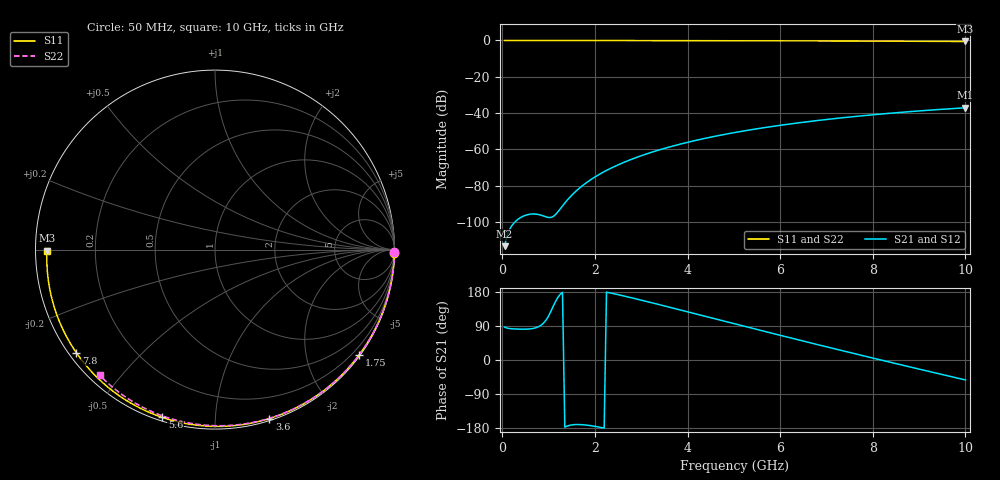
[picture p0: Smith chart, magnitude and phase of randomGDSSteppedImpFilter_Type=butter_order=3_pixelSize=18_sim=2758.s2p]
! freq	dB(S11)	phase(S11)	dB(S12)	phase(S12)
!  dB(S21)	phase(S21)	dB(S22)	phase(S22)
!S-par simulation data
#  GHz  S  DB  R 50
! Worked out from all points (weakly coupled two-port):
!   200 points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, 50 MHz to 10 GHz, reference 50 ohm
!   highest |S21| = -37.08 dB at 10 GHz (marker M1); lowest = -113.3 dB at 50 MHz (marker M2)
!   lowest |S11| = -0.6 dB at 10 GHz (marker M3), VSWR 30.36, Z = 1.65 - j0.159 ohm
!   |S11| at or under -10 dB: nowhere
!   |S22| runs from -0.4 to 0.0 dB; largest |S21 - S12| = 0
!   S11 on the Smith chart (normalised r, x): 50 MHz: open; 1.75 GHz: 0.03, -3.05; 3.6 GHz: 0.02, -1.37; 5.6 GHz: 0.02, -0.73; 7.8 GHz: 0.02, -0.33; 10 GHz: 0.03, -0.00
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0.05  -0.00 -1.1  -113.34 86.6  -113.34 86.6  -0.00 -0.8
0.45  -0.01 -9.5  -96.83 81.2  -96.83 81.2  -0.01 -6.9
0.85  -0.02 -17.8  -96.37 93.0  -96.37 93.0  -0.02 -12.9
1.25  -0.03 -26.1  -92.81 173.1  -92.81 173.1  -0.02 -19.0
1.7  -0.04 -35.3  -80.62 -170.6  -80.62 -170.6  -0.03 -25.7
1.75  -0.05 -36.3  -79.61 -171.0  -79.61 -171.0  -0.03 -26.4
2.05  -0.05 -42.3  -74.44 -176.1  -74.44 -176.1  -0.04 -30.8
2.25  -0.06 -46.3  -71.61 179.1  -71.61 179.1  -0.04 -33.8
2.45  -0.06 -50.2  -69.12 173.9  -69.12 173.9  -0.05 -36.7
2.9  -0.08 -58.9  -64.42 161.0  -64.42 161.0  -0.06 -43.2
3.4  -0.09 -68.4  -60.21 145.8  -60.21 145.8  -0.07 -50.3
3.6  -0.10 -72.2  -58.75 139.6  -58.75 139.6  -0.07 -53.1
4.3  -0.12 -84.9  -54.36 117.9  -54.36 117.9  -0.09 -62.7
5.05  -0.15 -98.1  -50.58 94.5  -50.58 94.5  -0.11 -72.8
5.6  -0.18 -107.5  -48.25 77.5  -48.25 77.5  -0.13 -79.9
6.15  -0.21 -116.6  -46.22 60.6  -46.22 60.6  -0.15 -86.9
6.7  -0.24 -125.7  -44.43 43.9  -44.43 43.9  -0.18 -93.7
7.25  -0.28 -134.6  -42.84 27.3  -42.84 27.3  -0.21 -100.4
7.8  -0.33 -143.4  -41.43 11.0  -41.43 11.0  -0.25 -107.0
8.35  -0.38 -152.3  -40.16 -5.2  -40.16 -5.2  -0.29 -113.5
9.2  -0.47 -166.2  -38.45 -29.8  -38.45 -29.8  -0.36 -123.3
10  -0.57 -179.6  -37.08 -52.7  -37.08 -52.7  -0.45 -132.4
